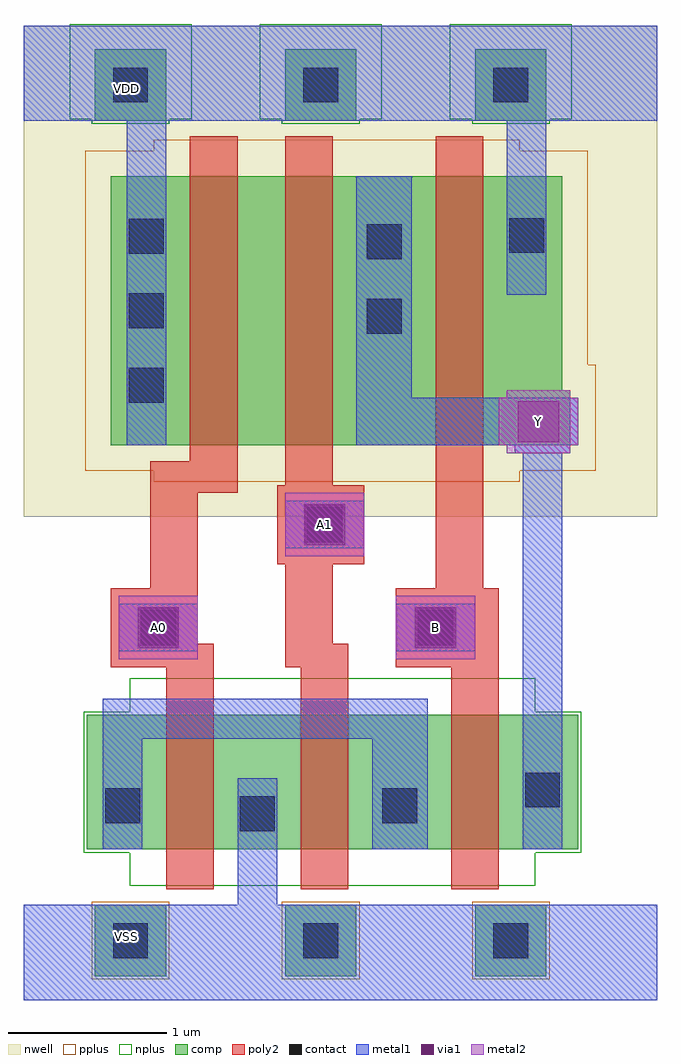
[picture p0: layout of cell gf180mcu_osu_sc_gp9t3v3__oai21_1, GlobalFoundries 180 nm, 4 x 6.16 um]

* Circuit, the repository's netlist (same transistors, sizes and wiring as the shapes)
* Copyright 2022 Google LLC
*
* Licensed under the Apache License, Version 2.0 (the "License");
* you may not use this file except in compliance with the License.
* You may obtain a copy of the License at
*
*      http://www.apache.org/licenses/LICENSE-2.0
*
* Unless required by applicable law or agreed to in writing, software
* distributed under the License is distributed on an "AS IS" BASIS,
* WITHOUT WARRANTIES OR CONDITIONS OF ANY KIND, either express or implied.
* See the License for the specific language governing permissions and
* limitations under the License.

.inc "/import/yukari1/lrburle/OSU_180/char/techfiles/design.hspice"
.lib "/import/yukari1/lrburle/OSU_180/char/techfiles/sm141064.hspice" typical

.GLOBAL VDD
.GLOBAL VSS

.option scale=0.05u

.subckt gf180mcu_osu_sc_gp9t3v3__oai21_1 Y A0 A1 B
X0 a_27_70 A0 VDD VDD pmos_3p3 w=34 l=6
X1 Y A1 a_27_70 VDD pmos_3p3 w=34 l=6
X2 Y B a_8_19 VSS nmos_3p3 w=17 l=6
X3 VSS A0 a_8_19 VSS nmos_3p3 w=17 l=6
X4 VDD B Y VDD pmos_3p3 w=34 l=6
X5 a_8_19 A1 VSS VSS nmos_3p3 w=17 l=6
.ends

** hspice subcircuit dictionary

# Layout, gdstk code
import gdstk
lib = gdstk.Library(unit=1e-6, precision=1e-09)
def R(c, l, rs):  # rectangles x0, y0, x1, y1
    for r in rs: c.add(gdstk.rectangle(r[:2], r[2:], *l))
def A(c, l, x, y, w, h, nx, ny, dx, dy):  # array of equal rectangles
    R(c, l, [(x+i*dx, y+j*dy, x+i*dx+w, y+j*dy+h) for i in range(nx) for j in range(ny)])
nwell = (21, 0)
comp = (22, 0)
poly2 = (30, 0)
pplus = (31, 0)
nplus = (32, 0)
contact = (33, 0)
metal1 = (34, 0)
via1 = (35, 0)
metal2 = (36, 0)

gf180mcu_osu_sc_gp9t3v3_ = lib.new_cell('gf180mcu_osu_sc_gp9t3v3__oai21_1')
R(gf180mcu_osu_sc_gp9t3v3_, nwell, [(0,3.05,4,6.15)])
A(gf180mcu_osu_sc_gp9t3v3_, comp, 0.45, 0.15, 0.45, 0.45, 3, 2, 1.2, 5.4)
R(gf180mcu_osu_sc_gp9t3v3_, comp, [(0.4,0.95,3.5,1.8), (0.55,3.5,3.45,3.85), (0.55,3.85,3.4,5.2)])
R(gf180mcu_osu_sc_gp9t3v3_, poly2, [(0.9,0.7,1.2,2.1), (1.75,0.7,2.05,2.1), (2.7,0.7,3,2.1), (0.55,2.1,1.2,2.25), (1.65,2.1,2.05,2.25), (2.35,2.1,3,2.6), (0.55,2.25,1.1,2.6), (1.65,2.25,1.95,2.75), (0.8,2.6,1.1,3.2), (2.6,2.6,2.9,5.45), (1.6,2.75,2.15,3.25), (0.8,3.2,1.35,3.4), (1.65,3.25,1.95,5.45), (1.05,3.4,1.35,5.45)])
A(gf180mcu_osu_sc_gp9t3v3_, pplus, 0.43, 0.13, 0.49, 0.49, 3, 1, 1.2, 0)
R(gf180mcu_osu_sc_gp9t3v3_, pplus, [(0.82,3.27,3.13,3.34), (0.39,3.34,3.61,4.01), (0.39,4.01,3.56,5.36), (0.82,5.36,3.13,5.43)])
A(gf180mcu_osu_sc_gp9t3v3_, nplus, 0.43, 5.53, 0.49, 0.03, 3, 1, 1.2, 0)
A(gf180mcu_osu_sc_gp9t3v3_, nplus, 0.29, 5.56, 0.77, 0.6, 3, 1, 1.2, 0)
R(gf180mcu_osu_sc_gp9t3v3_, nplus, [(0.67,0.72,3.23,0.93), (0.38,0.93,3.52,1.82), (0.67,1.82,3.23,2.03)])
A(gf180mcu_osu_sc_gp9t3v3_, contact, 0.565, 0.265, 0.22, 0.22, 3, 2, 1.2, 5.4)
A(gf180mcu_osu_sc_gp9t3v3_, contact, 0.665, 3.77, 0.22, 0.22, 1, 3, 0, 0.47)
R(gf180mcu_osu_sc_gp9t3v3_, contact, [(1.365,1.065,1.585,1.285), (0.515,1.115,0.735,1.335), (2.265,1.115,2.485,1.335), (3.165,1.215,3.385,1.435), (0.74,2.24,0.96,2.46), (2.49,2.24,2.71,2.46), (1.79,2.89,2.01,3.11), (2.165,4.205,2.385,4.425), (2.165,4.675,2.385,4.895), (3.065,4.715,3.285,4.935)])
R(gf180mcu_osu_sc_gp9t3v3_, metal1, [(0,0,4,0.6), (1.35,0.6,1.6,1.4), (0.5,0.95,0.75,1.65), (2.2,0.95,2.55,1.65), (3.15,0.95,3.4,3.45), (0.5,1.65,2.55,1.9), (0.6,2.2,1.1,2.5), (2.35,2.2,2.85,2.5), (1.65,2.85,2.15,3.15), (3.1,3.45,3.45,3.5), (0.65,3.5,0.9,5.55), (2.1,3.5,3.5,3.8), (2.1,3.8,2.45,5.2), (3.05,4.45,3.3,5.55), (0,5.55,4,6.15)])
R(gf180mcu_osu_sc_gp9t3v3_, via1, [(0.72,2.22,0.98,2.48), (2.47,2.22,2.73,2.48), (1.77,2.87,2.03,3.13), (3.12,3.52,3.38,3.78)])
R(gf180mcu_osu_sc_gp9t3v3_, metal2, [(0.6,2.15,1.1,2.55), (2.35,2.15,2.85,2.55), (1.65,2.8,2.15,3.2), (3.05,3.45,3.45,3.5), (3,3.5,3.5,3.8), (3.05,3.8,3.45,3.85)])
gf180mcu_osu_sc_gp9t3v3_.add(gdstk.Label('VDD', (0.65,5.75), layer=34, texttype=0))
gf180mcu_osu_sc_gp9t3v3_.add(gdstk.Label('VSS', (0.65,0.4), layer=34, texttype=0))
gf180mcu_osu_sc_gp9t3v3_.add(gdstk.Label('Y', (3.25,3.65), layer=36, texttype=10))
gf180mcu_osu_sc_gp9t3v3_.add(gdstk.Label('A0', (0.85,2.35), layer=36, texttype=10))
gf180mcu_osu_sc_gp9t3v3_.add(gdstk.Label('A1', (1.9,3), layer=36, texttype=10))
gf180mcu_osu_sc_gp9t3v3_.add(gdstk.Label('B', (2.6,2.35), layer=36, texttype=10))

lib.write_gds('gf180mcu_osu_sc_gp9t3v3__oai21_1.gds')
